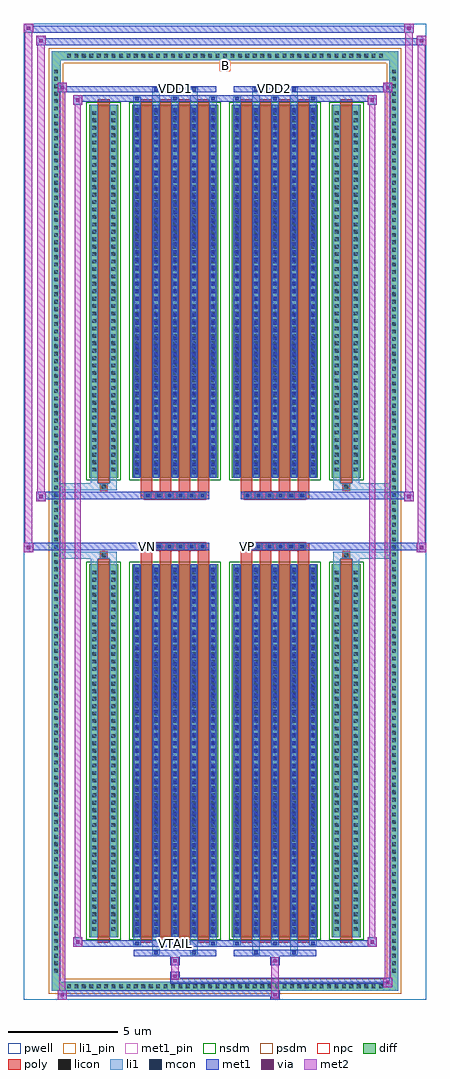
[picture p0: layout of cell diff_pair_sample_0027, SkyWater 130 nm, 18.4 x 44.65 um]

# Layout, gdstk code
import gdstk
lib = gdstk.Library(unit=1e-6, precision=5e-09)
def R(c, l, rs):  # rectangles x0, y0, x1, y1
    for r in rs: c.add(gdstk.rectangle(r[:2], r[2:], *l))
def A(c, l, x, y, w, h, nx, ny, dx, dy):  # array of equal rectangles
    R(c, l, [(x+i*dx, y+j*dy, x+i*dx+w, y+j*dy+h) for i in range(nx) for j in range(ny)])
def P(c, l, *ps):  # polygons
    for p in ps: c.add(gdstk.Polygon(p, *l))
pwell = (64, 44)
diff = (65, 20)
poly = (66, 20)
licon = (66, 44)
li1_pin = (67, 16)
li1 = (67, 20)
mcon = (67, 44)
met1_pin = (68, 16)
met1 = (68, 20)
via = (68, 44)
met2 = (69, 20)
nsdm = (93, 44)
psdm = (94, 20)
npc = (95, 20)

diff_pair_sample_0027 = lib.new_cell('diff_pair_sample_0027')
R(diff_pair_sample_0027, pwell, [(-9.2,-21.89,9.2,22.76), (-6.52,-20.08,-0.01,-0.8), (0.01,-20.08,6.52,-0.8), (-6.52,0.8,-0.01,20.08), (0.01,0.8,6.52,20.08)])
A(diff_pair_sample_0027, diff, -7.345, -21.49, 0.41, 0.41, 43, 2, 0.34, 42.57)
A(diff_pair_sample_0027, diff, -7.93, -20.775, 0.41, 0.41, 1, 122, 0, 0.34)
A(diff_pair_sample_0027, diff, 7.52, -20.775, 0.41, 0.41, 1, 122, 0, 0.34)
R(diff_pair_sample_0027, diff, [(-7.345,-21.49,7.345,-21.08), (-7.93,-20.775,-7.52,20.775), (7.52,-20.775,7.93,20.775), (-6.21,-19.035,-4.89,-1.985), (-4.25,-19.035,-0.32,-1.985), (0.32,-19.035,4.25,-1.985), (4.89,-19.035,6.21,-1.985), (-6.21,1.985,-4.89,19.035), (-4.25,1.985,-0.32,19.035), (0.32,1.985,4.25,19.035), (4.89,1.985,6.21,19.035), (-7.345,21.08,7.345,21.49)])
P(diff_pair_sample_0027, diff, [(7.93,21.49),(-7.93,21.49),(-7.93,-21.08),(-7.52,-21.08),(-7.52,21.08),(7.52,21.08),(7.52,-21.08),(-7.52,-21.08),(-7.93,-21.08),(-7.93,-21.49),(7.93,-21.49)])
A(diff_pair_sample_0027, poly, -3.86, -19.285, 0.54, 17.55, 4, 2, 0.87, 21.02)
A(diff_pair_sample_0027, poly, 0.71, -19.285, 0.54, 17.55, 4, 2, 0.87, 21.02)
A(diff_pair_sample_0027, poly, -3.86, -1.735, 0.54, 0.405, 4, 2, 0.87, 3.065)
A(diff_pair_sample_0027, poly, 0.71, -1.735, 0.54, 0.405, 4, 2, 0.87, 3.065)
A(diff_pair_sample_0027, poly, -3.7, -1.33, 0.33, 0.33, 6, 2, 0.5, 2.33)
A(diff_pair_sample_0027, poly, 0.87, -1.33, 0.33, 0.33, 6, 2, 0.5, 2.33)
R(diff_pair_sample_0027, poly, [(-5.82,-19.285,-5.28,-1.735), (5.28,-19.285,5.82,-1.735), (-5.715,-1.735,-5.385,-1.405), (-5.715,-1.735,-5.385,-1.405), (5.385,-1.735,5.715,-1.405), (5.385,-1.735,5.715,-1.405), (-3.86,-1.33,-0.71,-1), (0.71,-1.33,3.86,-1), (-3.86,1,-0.71,1.33), (0.71,1,3.86,1.33), (-5.715,1.405,-5.385,1.735), (-5.715,1.405,-5.385,1.735), (5.385,1.405,5.715,1.735), (5.385,1.405,5.715,1.735), (-5.82,1.735,-5.28,19.285), (5.28,1.735,5.82,19.285)])
A(diff_pair_sample_0027, licon, -7.225, -21.37, 0.17, 0.17, 43, 2, 0.34, 42.57)
A(diff_pair_sample_0027, licon, -7.81, -20.655, 0.17, 0.17, 1, 122, 0, 0.34)
A(diff_pair_sample_0027, licon, 7.64, -20.655, 0.17, 0.17, 1, 122, 0, 0.34)
A(diff_pair_sample_0027, licon, -6.07, -18.755, 0.17, 0.17, 1, 49, 0, 0.34)
A(diff_pair_sample_0027, licon, -5.2, -18.755, 0.17, 0.17, 1, 49, 0, 0.34)
A(diff_pair_sample_0027, licon, -4.11, -18.755, 0.17, 0.17, 5, 49, 0.87, 0.34)
A(diff_pair_sample_0027, licon, 0.46, -18.755, 0.17, 0.17, 5, 49, 0.87, 0.34)
A(diff_pair_sample_0027, licon, 5.03, -18.755, 0.17, 0.17, 1, 49, 0, 0.34)
A(diff_pair_sample_0027, licon, 5.9, -18.755, 0.17, 0.17, 1, 49, 0, 0.34)
A(diff_pair_sample_0027, licon, -3.62, -1.25, 0.17, 0.17, 6, 2, 0.5, 2.33)
A(diff_pair_sample_0027, licon, 0.95, -1.25, 0.17, 0.17, 6, 2, 0.5, 2.33)
A(diff_pair_sample_0027, licon, -6.07, 2.265, 0.17, 0.17, 1, 49, 0, 0.34)
A(diff_pair_sample_0027, licon, -5.2, 2.265, 0.17, 0.17, 1, 49, 0, 0.34)
A(diff_pair_sample_0027, licon, -4.11, 2.265, 0.17, 0.17, 5, 49, 0.87, 0.34)
A(diff_pair_sample_0027, licon, 0.46, 2.265, 0.17, 0.17, 5, 49, 0.87, 0.34)
A(diff_pair_sample_0027, licon, 5.03, 2.265, 0.17, 0.17, 1, 49, 0, 0.34)
A(diff_pair_sample_0027, licon, 5.9, 2.265, 0.17, 0.17, 1, 49, 0, 0.34)
R(diff_pair_sample_0027, licon, [(-5.635,-1.655,-5.465,-1.485), (5.465,-1.655,5.635,-1.485), (-5.635,1.485,-5.465,1.655), (5.465,1.485,5.635,1.655)])
R(diff_pair_sample_0027, li1_pin, [(-0.25,20.58,0.25,21.08)])
A(diff_pair_sample_0027, li1, -7.305, -21.45, 0.33, 0.33, 43, 2, 0.34, 42.57)
A(diff_pair_sample_0027, li1, -7.89, -20.735, 0.33, 0.33, 1, 122, 0, 0.34)
A(diff_pair_sample_0027, li1, 7.56, -20.735, 0.33, 0.33, 1, 122, 0, 0.34)
A(diff_pair_sample_0027, li1, -4.19, -19.41, 0.33, 0.375, 3, 2, 1.74, 38.445)
A(diff_pair_sample_0027, li1, -4.11, -19.41, 0.17, 0.17, 3, 2, 1.74, 38.65)
A(diff_pair_sample_0027, li1, 0.38, -19.41, 0.33, 0.375, 3, 2, 1.74, 38.445)
A(diff_pair_sample_0027, li1, 0.46, -19.41, 0.17, 0.17, 3, 2, 1.74, 38.65)
A(diff_pair_sample_0027, li1, -4.19, -19.035, 0.33, 17.05, 5, 2, 0.87, 21.02)
A(diff_pair_sample_0027, li1, 0.38, -19.035, 0.33, 17.05, 5, 2, 0.87, 21.02)
A(diff_pair_sample_0027, li1, -4.11, -18.875, 0.17, 0.17, 5, 47, 0.87, 0.36)
A(diff_pair_sample_0027, li1, -4.11, -18.875, 0.17, 16.73, 5, 2, 0.87, 21.02)
A(diff_pair_sample_0027, li1, 0.46, -18.875, 0.17, 0.17, 5, 47, 0.87, 0.36)
A(diff_pair_sample_0027, li1, 0.46, -18.875, 0.17, 16.73, 5, 2, 0.87, 21.02)
A(diff_pair_sample_0027, li1, -6.15, -18.835, 0.33, 0.33, 1, 49, 0, 0.34)
A(diff_pair_sample_0027, li1, -5.28, -18.835, 0.33, 0.33, 1, 49, 0, 0.34)
A(diff_pair_sample_0027, li1, -4.19, -18.835, 0.33, 0.33, 5, 49, 0.87, 0.34)
A(diff_pair_sample_0027, li1, 0.38, -18.835, 0.33, 0.33, 5, 49, 0.87, 0.34)
A(diff_pair_sample_0027, li1, 4.95, -18.835, 0.33, 0.33, 1, 49, 0, 0.34)
A(diff_pair_sample_0027, li1, 5.82, -18.835, 0.33, 0.33, 1, 49, 0, 0.34)
A(diff_pair_sample_0027, li1, -3.7, -1.33, 0.33, 0.33, 6, 2, 0.5, 2.33)
A(diff_pair_sample_0027, li1, 0.87, -1.33, 0.33, 0.33, 6, 2, 0.5, 2.33)
A(diff_pair_sample_0027, li1, -4.11, 2.145, 0.17, 0.17, 5, 47, 0.87, 0.36)
A(diff_pair_sample_0027, li1, 0.46, 2.145, 0.17, 0.17, 5, 47, 0.87, 0.36)
A(diff_pair_sample_0027, li1, -6.15, 2.185, 0.33, 0.33, 1, 49, 0, 0.34)
A(diff_pair_sample_0027, li1, -5.28, 2.185, 0.33, 0.33, 1, 49, 0, 0.34)
A(diff_pair_sample_0027, li1, -4.19, 2.185, 0.33, 0.33, 5, 49, 0.87, 0.34)
A(diff_pair_sample_0027, li1, 0.38, 2.185, 0.33, 0.33, 5, 49, 0.87, 0.34)
A(diff_pair_sample_0027, li1, 4.95, 2.185, 0.33, 0.33, 1, 49, 0, 0.34)
A(diff_pair_sample_0027, li1, 5.82, 2.185, 0.33, 0.33, 1, 49, 0, 0.34)
R(diff_pair_sample_0027, li1, [(-7.93,-21.49,-7.52,-21.08), (-7.93,-21.49,-7.52,-21.08), (-7.52,-21.49,7.52,-21.08), (7.52,-21.49,7.93,-21.08), (7.52,-21.49,7.93,-21.08), (-7.93,-21.08,-7.52,21.08), (7.52,-21.08,7.93,21.08), (-3.32,-19.84,-2.99,-19.035), (-3.24,-19.84,-3.07,-19.67), (-1.58,-19.84,-1.25,-19.035), (-1.5,-19.84,-1.33,-19.67), (1.25,-19.84,1.58,-19.035), (1.33,-19.84,1.5,-19.67), (2.99,-19.84,3.32,-19.035), (3.07,-19.84,3.24,-19.67), (-6.15,-19.035,-5.82,-1.985), (-5.28,-19.035,-4.95,-1.985), (4.95,-19.035,5.28,-1.985), (5.82,-19.035,6.15,-1.985), (-6.15,-1.985,-5.82,-1.405), (-5.28,-1.985,-4.95,-1.405), (4.95,-1.985,5.28,-1.405), (5.82,-1.985,6.15,-1.405), (-7.93,-1.735,-5.715,-1.405), (-6.15,-1.735,-5.715,-1.405), (-5.715,-1.735,-5.385,-1.405), (-5.385,-1.735,-4.95,-1.405), (4.95,-1.735,5.385,-1.405), (5.385,-1.735,5.715,-1.405), (5.385,-1.735,7.93,-1.405), (5.715,-1.735,6.15,-1.405), (-7.93,1.405,-5.715,1.735), (-6.15,1.405,-5.715,1.735), (-6.15,1.405,-5.82,1.985), (-5.715,1.405,-5.385,1.735), (-5.385,1.405,-4.95,1.735), (-5.28,1.405,-4.95,1.985), (4.95,1.405,5.385,1.735), (4.95,1.405,5.28,1.985), (5.385,1.405,5.715,1.735), (5.385,1.405,7.93,1.735), (5.715,1.405,6.15,1.735), (5.82,1.405,6.15,1.985), (-6.15,1.985,-5.82,19.035), (-5.28,1.985,-4.95,19.035), (4.95,1.985,5.28,19.035), (5.82,1.985,6.15,19.035), (-3.32,19.035,-2.99,19.84), (-1.58,19.035,-1.25,19.84), (1.25,19.035,1.58,19.84), (2.99,19.035,3.32,19.84), (-3.24,19.67,-3.07,19.84), (-1.5,19.67,-1.33,19.84), (1.33,19.67,1.5,19.84), (3.07,19.67,3.24,19.84), (-7.93,21.08,-7.52,21.49), (-7.93,21.08,-7.52,21.49), (-7.52,21.08,7.52,21.49), (7.52,21.08,7.93,21.49), (7.52,21.08,7.93,21.49)])
A(diff_pair_sample_0027, mcon, -4.11, -19.41, 0.17, 0.17, 3, 2, 1.74, 38.65)
A(diff_pair_sample_0027, mcon, 0.46, -19.41, 0.17, 0.17, 3, 2, 1.74, 38.65)
A(diff_pair_sample_0027, mcon, -4.11, -18.875, 0.17, 0.17, 5, 47, 0.87, 0.36)
A(diff_pair_sample_0027, mcon, 0.46, -18.875, 0.17, 0.17, 5, 47, 0.87, 0.36)
A(diff_pair_sample_0027, mcon, -3.62, -1.25, 0.17, 0.17, 6, 2, 0.5, 2.33)
A(diff_pair_sample_0027, mcon, 0.95, -1.25, 0.17, 0.17, 6, 2, 0.5, 2.33)
A(diff_pair_sample_0027, mcon, -4.11, 2.145, 0.17, 0.17, 5, 47, 0.87, 0.36)
A(diff_pair_sample_0027, mcon, 0.46, 2.145, 0.17, 0.17, 5, 47, 0.87, 0.36)
R(diff_pair_sample_0027, mcon, [(-3.24,-19.84,-3.07,-19.67), (-1.5,-19.84,-1.33,-19.67), (1.33,-19.84,1.5,-19.67), (3.07,-19.84,3.24,-19.67), (-3.24,19.67,-3.07,19.84), (-1.5,19.67,-1.33,19.84), (1.33,19.67,1.5,19.84), (3.07,19.67,3.24,19.84)])
R(diff_pair_sample_0027, met1_pin, [(-2.42,-19.45,-2.15,-19.18), (-3.67,-1.29,-3.4,-1.02), (0.9,-1.29,1.17,-1.02), (-2.42,19.63,-2.15,19.9), (2.15,19.63,2.42,19.9)])
A(diff_pair_sample_0027, met1, -4.17, -19.47, 0.29, 0.29, 3, 2, 1.74, 38.65)
A(diff_pair_sample_0027, met1, 0.4, -19.47, 0.29, 0.29, 3, 2, 1.74, 38.65)
A(diff_pair_sample_0027, met1, -4.17, -19.035, 0.29, 17.05, 5, 2, 0.87, 21.02)
A(diff_pair_sample_0027, met1, 0.4, -19.035, 0.29, 17.05, 5, 2, 0.87, 21.02)
A(diff_pair_sample_0027, met1, -4.17, -18.935, 0.29, 0.29, 5, 47, 0.87, 0.36)
A(diff_pair_sample_0027, met1, 0.4, -18.935, 0.29, 0.29, 5, 47, 0.87, 0.36)
A(diff_pair_sample_0027, met1, -3.68, -1.31, 0.29, 0.29, 6, 2, 0.5, 2.33)
A(diff_pair_sample_0027, met1, 0.89, -1.31, 0.29, 0.29, 6, 2, 0.5, 2.33)
A(diff_pair_sample_0027, met1, -4.17, 2.085, 0.29, 0.29, 5, 47, 0.87, 0.36)
A(diff_pair_sample_0027, met1, 0.4, 2.085, 0.29, 0.29, 5, 47, 0.87, 0.36)
R(diff_pair_sample_0027, met1, [(-7.66,-21.89,-7.23,-21.46), (2.07,-21.89,2.5,-21.46), (-7.66,-21.75,2.5,-21.46), (7.23,-21.32,7.66,-20.89), (-2.5,-21.18,7.66,-20.89), (-2.5,-21.04,-2.07,-20.61), (-2.5,-20.33,-2.07,-19.9), (2.07,-20.33,2.5,-19.9), (-4.17,-19.9,-0.4,-19.61), (-3.3,-19.9,-3.01,-19.61), (-1.56,-19.9,-1.27,-19.61), (0.4,-19.9,4.17,-19.61), (1.27,-19.9,1.56,-19.61), (3.01,-19.9,3.3,-19.61), (-6.95,-19.47,-6.52,-19.04), (-6.95,-19.47,-4.17,-19.18), (-4.17,-19.47,-0.4,-19.18), (-0.4,-19.47,0.4,-19.18), (0.4,-19.47,4.17,-19.18), (4.17,-19.47,6.95,-19.18), (6.52,-19.47,6.95,-19.04), (-9.2,-1.43,-8.77,-1), (8.77,-1.43,9.2,-1), (-9.2,-1.33,-0.71,-1), (-3.86,-1.33,-0.71,-1), (0.71,-1.33,3.86,-1), (0.71,-1.33,9.2,-1), (-8.63,0.9,-8.2,1.33), (8.2,0.9,8.63,1.33), (-8.63,1,-3.86,1.33), (-3.86,1,-0.71,1.33), (0.71,1,3.86,1.33), (3.86,1,8.63,1.33), (-6.95,19.04,-6.52,19.47), (6.52,19.04,6.95,19.47), (-6.95,19.18,-4.17,19.47), (-4.17,19.18,-0.4,19.47), (-0.4,19.18,0.4,19.47), (0.4,19.18,4.17,19.47), (4.17,19.18,6.95,19.47), (-7.66,19.61,-7.23,20.04), (-7.66,19.61,-4.17,19.9), (-4.17,19.61,-0.4,19.9), (-3.3,19.61,-3.01,19.9), (-1.56,19.61,-1.27,19.9), (0.4,19.61,4.17,19.9), (1.27,19.61,1.56,19.9), (3.01,19.61,3.3,19.9), (4.17,19.61,7.66,19.9), (7.23,19.61,7.66,20.04), (-8.63,21.76,-8.2,22.19), (-8.63,21.76,-6.52,22.09), (-6.52,21.76,6.52,22.09), (6.52,21.76,9.2,22.09), (8.77,21.76,9.2,22.19), (-9.2,22.33,-8.77,22.76), (-9.2,22.33,-6.52,22.66), (-6.52,22.33,6.52,22.66), (6.52,22.33,8.63,22.66), (8.2,22.33,8.63,22.76)])
R(diff_pair_sample_0027, via, [(-7.52,-21.75,-7.37,-21.6), (2.21,-21.75,2.36,-21.6), (7.37,-21.18,7.52,-21.03), (-2.36,-20.9,-2.21,-20.75), (-2.36,-20.19,-2.21,-20.04), (2.21,-20.19,2.36,-20.04), (-6.81,-19.33,-6.66,-19.18), (6.66,-19.33,6.81,-19.18), (-9.06,-1.29,-8.91,-1.14), (8.91,-1.29,9.06,-1.14), (-8.49,1.04,-8.34,1.19), (8.34,1.04,8.49,1.19), (-6.81,19.18,-6.66,19.33), (6.66,19.18,6.81,19.33), (-7.52,19.75,-7.37,19.9), (7.37,19.75,7.52,19.9), (-8.49,21.9,-8.34,22.05), (8.91,21.9,9.06,22.05), (-9.06,22.47,-8.91,22.62), (8.34,22.47,8.49,22.62)])
R(diff_pair_sample_0027, met2, [(-7.66,-21.89,-7.23,-21.46), (-7.59,-21.89,-7.3,20.04), (-7.3,-21.89,-7.23,-21.46), (-7.61,-21.84,-7.28,-21.51), (2.12,-21.84,2.45,-21.51), (2.12,-21.51,2.45,-20.28), (7.23,-21.32,7.66,-20.89), (7.3,-21.32,7.59,20.04), (7.59,-21.32,7.66,-20.89), (7.28,-21.27,7.61,-20.94), (-2.45,-20.99,-2.12,-20.66), (-2.45,-20.66,-2.12,-20.28), (-2.45,-20.28,-2.12,-19.95), (2.12,-20.28,2.45,-19.95), (-6.95,-19.47,-6.52,-19.04), (-6.88,-19.47,-6.59,19.47), (-6.59,-19.47,-6.52,-19.04), (6.52,-19.47,6.95,-19.04), (6.59,-19.47,6.88,19.47), (6.88,-19.47,6.95,-19.04), (-6.9,-19.42,-6.57,-19.09), (6.57,-19.42,6.9,-19.09), (-9.2,-1.43,-8.77,-1), (-9.15,-1.43,-8.82,22.76), (-8.82,-1.43,-8.77,-1), (8.77,-1.43,9.2,-1), (8.82,-1.43,9.15,22.19), (9.15,-1.43,9.2,-1), (-9.15,-1.38,-8.82,-1.05), (8.82,-1.38,9.15,-1.05), (-8.63,0.9,-8.2,1.33), (-8.58,0.9,-8.25,22.19), (-8.25,0.9,-8.2,1.33), (8.2,0.9,8.63,1.33), (8.25,0.9,8.58,22.76), (8.58,0.9,8.63,1.33), (-8.58,0.95,-8.25,1.28), (8.25,0.95,8.58,1.28), (-6.95,19.04,-6.52,19.47), (-6.59,19.04,-6.52,19.47), (6.52,19.04,6.95,19.47), (6.88,19.04,6.95,19.47), (-6.9,19.09,-6.57,19.42), (6.57,19.09,6.9,19.42), (-7.66,19.61,-7.23,20.04), (-7.3,19.61,-7.23,20.04), (7.23,19.61,7.66,20.04), (7.59,19.61,7.66,20.04), (-7.61,19.66,-7.28,19.99), (7.28,19.66,7.61,19.99), (-8.63,21.76,-8.2,22.19), (-8.25,21.76,-8.2,22.19), (8.77,21.76,9.2,22.19), (9.15,21.76,9.2,22.19), (-8.58,21.81,-8.25,22.14), (8.82,21.81,9.15,22.14), (-9.2,22.33,-8.77,22.76), (-8.82,22.33,-8.77,22.76), (8.2,22.33,8.63,22.76), (8.58,22.33,8.63,22.76), (-9.15,22.38,-8.82,22.71), (8.25,22.38,8.58,22.71)])
R(diff_pair_sample_0027, nsdm, [(-6.34,-19.165,-4.76,-1.855), (-4.38,-19.165,-0.19,-1.855), (0.19,-19.165,4.38,-1.855), (4.76,-19.165,6.34,-1.855), (-6.34,1.855,-4.76,19.165), (-4.38,1.855,-0.19,19.165), (0.19,1.855,4.38,19.165), (4.76,1.855,6.34,19.165)])
P(diff_pair_sample_0027, psdm, [(8.06,21.62),(-8.06,21.62),(-8.06,-20.95),(-7.39,-20.95),(-7.39,20.95),(7.39,20.95),(7.39,-20.95),(-7.39,-20.95),(-8.06,-20.95),(-8.06,-21.62),(8.06,-21.62)])
A(diff_pair_sample_0027, npc, -3.72, -1.35, 0.37, 0.37, 6, 2, 0.5, 2.33)
A(diff_pair_sample_0027, npc, 0.85, -1.35, 0.37, 0.37, 6, 2, 0.5, 2.33)
R(diff_pair_sample_0027, npc, [(-5.735,-1.755,-5.365,-1.385), (5.365,-1.755,5.735,-1.385), (-3.72,-1.35,-2.85,-0.98), (-3.72,-1.35,-2.85,-0.98), (-3.22,-1.35,-2.35,-0.98), (-3.22,-1.35,-2.35,-0.98), (-2.72,-1.35,-1.85,-0.98), (-2.72,-1.35,-1.85,-0.98), (-2.22,-1.35,-1.35,-0.98), (-2.22,-1.35,-1.35,-0.98), (-1.72,-1.35,-0.85,-0.98), (-1.72,-1.35,-0.85,-0.98), (0.85,-1.35,1.72,-0.98), (0.85,-1.35,1.72,-0.98), (1.35,-1.35,2.22,-0.98), (1.35,-1.35,2.22,-0.98), (1.85,-1.35,2.72,-0.98), (1.85,-1.35,2.72,-0.98), (2.35,-1.35,3.22,-0.98), (2.35,-1.35,3.22,-0.98), (2.85,-1.35,3.72,-0.98), (2.85,-1.35,3.72,-0.98), (-3.72,0.98,-2.85,1.35), (-3.72,0.98,-2.85,1.35), (-3.22,0.98,-2.35,1.35), (-3.22,0.98,-2.35,1.35), (-2.72,0.98,-1.85,1.35), (-2.72,0.98,-1.85,1.35), (-2.22,0.98,-1.35,1.35), (-2.22,0.98,-1.35,1.35), (-1.72,0.98,-0.85,1.35), (-1.72,0.98,-0.85,1.35), (0.85,0.98,1.72,1.35), (0.85,0.98,1.72,1.35), (1.35,0.98,2.22,1.35), (1.35,0.98,2.22,1.35), (1.85,0.98,2.72,1.35), (1.85,0.98,2.72,1.35), (2.35,0.98,3.22,1.35), (2.35,0.98,3.22,1.35), (2.85,0.98,3.72,1.35), (2.85,0.98,3.72,1.35), (-5.735,1.385,-5.365,1.755), (5.365,1.385,5.735,1.755)])
diff_pair_sample_0027.add(gdstk.Label('VTAIL', (-2.285,-19.315), layer=68, texttype=5))
diff_pair_sample_0027.add(gdstk.Label('VN', (-3.535,-1.155), layer=68, texttype=5))
diff_pair_sample_0027.add(gdstk.Label('VP', (1.035,-1.155), layer=68, texttype=5))
diff_pair_sample_0027.add(gdstk.Label('B', (0,20.83), layer=67, texttype=5))
diff_pair_sample_0027.add(gdstk.Label('VDD2', (2.285,19.765), layer=68, texttype=5))
diff_pair_sample_0027.add(gdstk.Label('VDD1', (-2.285,19.765), layer=68, texttype=5))

lib.write_gds('diff_pair_sample_0027.gds')
